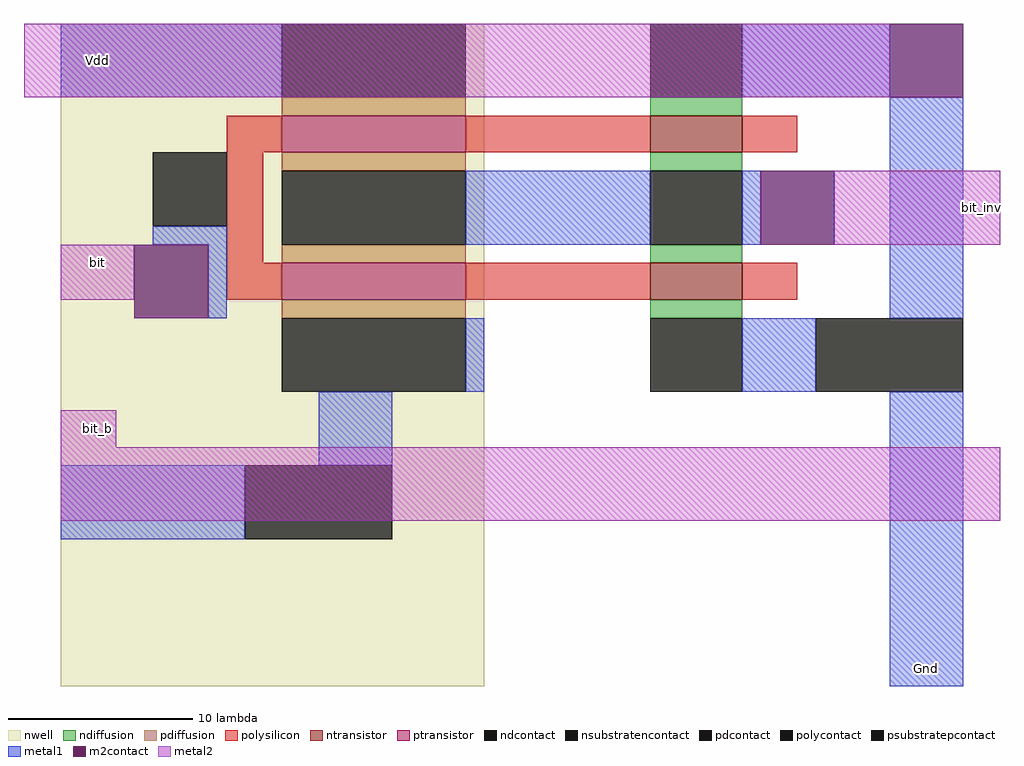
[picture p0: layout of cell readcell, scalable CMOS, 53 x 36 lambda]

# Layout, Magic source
magic
tech scmos
<< nwell >>
rect -23 1 0 37
<< polysilicon >>
rect -14 30 -11 32
rect -1 30 9 32
rect 14 30 17 32
rect -14 24 -12 30
rect -14 22 -11 24
rect -1 22 9 24
rect 14 22 17 24
<< ndiffusion >>
rect 9 32 14 33
rect 9 29 14 30
rect 9 24 14 25
rect 9 21 14 22
<< pdiffusion >>
rect -11 32 -1 33
rect -11 29 -1 30
rect -11 24 -1 25
rect -11 21 -1 22
<< metal1 >>
rect -23 33 -11 37
rect 14 33 22 37
rect -18 25 -14 26
rect -1 25 9 29
rect 14 25 15 29
rect -15 21 -14 25
rect 22 21 26 33
rect -1 17 0 21
rect 14 17 18 21
rect -9 13 -5 17
rect -23 9 -13 13
rect 22 1 26 17
<< metal2 >>
rect -25 33 22 37
rect 19 25 28 29
rect -23 22 -19 25
rect -23 14 -20 16
rect -23 10 28 14
<< ntransistor >>
rect 9 30 14 32
rect 9 22 14 24
<< ptransistor >>
rect -11 30 -1 32
rect -11 22 -1 24
<< polycontact >>
rect -18 26 -14 30
<< ndcontact >>
rect 9 33 14 37
rect 9 25 14 29
rect 9 17 14 21
<< pdcontact >>
rect -11 33 -1 37
rect -11 25 -1 29
rect -11 17 -1 21
<< m2contact >>
rect 22 33 26 37
rect 15 25 19 29
rect -19 21 -15 25
<< psubstratepcontact >>
rect 18 17 26 21
<< nsubstratencontact >>
rect -13 9 -5 13
<< labels >>
rlabel metal2 -21 15 -21 15 7 bit_b
rlabel metal2 -21 24 -21 24 7 bit
rlabel metal2 27 27 27 27 3 bit_inv
rlabel metal1 24 2 24 2 5 Gnd
rlabel metal1 -21 35 -21 35 7 Vdd
<< end >>
